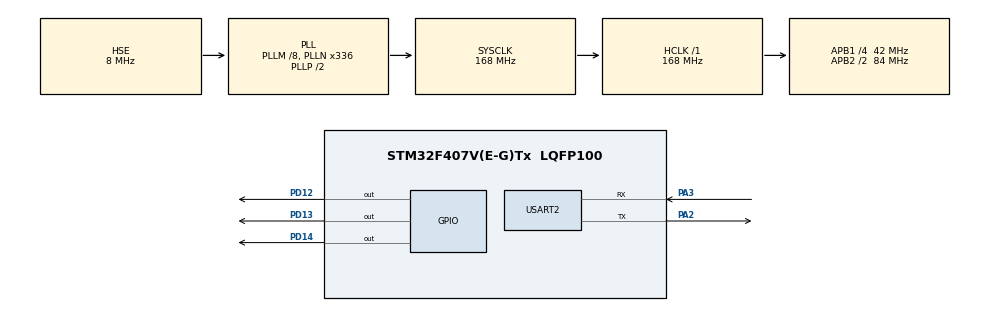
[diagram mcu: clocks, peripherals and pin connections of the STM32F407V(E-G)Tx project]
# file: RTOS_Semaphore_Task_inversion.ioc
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FREERTOS.BinarySemaphores01=BinarySem,Dynamic,NULL,Available
FREERTOS.Tasks01=Task1,1,128,StartDefaultTask,Default,NULL,Dynamic,NULL,NULL;Task02,0,128,StartTask02,Default,NULL,Dynamic,NULL,NULL;Task03,-1,128,StartTask03,Default,NULL,Dynamic,NULL,NULL
Mcu.Family=STM32F4
Mcu.Name=STM32F407V(E-G)Tx
Mcu.Package=LQFP100
NVIC.PriorityGroup=NVIC_PRIORITYGROUP_4
NVIC.TIM2_IRQn=true\:15\:0\:false\:false\:true\:false\:false\:true\:true
NVIC.TimeBase=TIM2_IRQn
NVIC.TimeBaseIP=TIM2
NVIC.USART2_IRQn=true\:5\:0\:false\:false\:true\:true\:true\:true\:true
PA2.Mode=Asynchronous
PA2.Signal=USART2_TX
PA3.Mode=Asynchronous
PA3.Signal=USART2_RX
PD12.Signal=GPIO_Output
PD13.Signal=GPIO_Output
PD14.Signal=GPIO_Output
PH0-OSC_IN.Mode=HSE-External-Oscillator
PH0-OSC_IN.Signal=RCC_OSC_IN
PH1-OSC_OUT.Mode=HSE-External-Oscillator
PH1-OSC_OUT.Signal=RCC_OSC_OUT
ProjectManager.HeapSize=0x200
ProjectManager.StackSize=0x400
ProjectManager.TargetToolchain=STM32CubeIDE
RCC.48MHZClocksFreq_Value=48000000
RCC.AHBFreq_Value=168000000
RCC.APB1CLKDivider=RCC_HCLK_DIV4
RCC.APB1Freq_Value=42000000
RCC.APB1TimFreq_Value=84000000
RCC.APB2CLKDivider=RCC_HCLK_DIV2
RCC.APB2Freq_Value=84000000
RCC.APB2TimFreq_Value=168000000
RCC.CortexFreq_Value=168000000
RCC.HCLKFreq_Value=168000000
RCC.HSE_VALUE=8000000
RCC.HSI_VALUE=16000000
RCC.PLLM=8
RCC.PLLN=336
RCC.PLLQ=7
RCC.PLLSourceVirtual=RCC_PLLSOURCE_HSE
RCC.SYSCLKFreq_VALUE=168000000
RCC.SYSCLKSource=RCC_SYSCLKSOURCE_PLLCLK
RCC.VCOOutputFreq_Value=336000000
USART2.VirtualMode=VM_ASYNC
VP_FREERTOS_VS_CMSIS_V1.Mode=CMSIS_V1
VP_SYS_VS_tim2.Mode=TIM2
board=STM32F407G-DISC1

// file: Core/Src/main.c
/* USER CODE BEGIN Header */
/**
  ******************************************************************************
  * @file           : main.c
  * @brief          : Main program body
  ******************************************************************************
  * @attention
  *
  * Copyright (c) 2026 STMicroelectronics.
  * All rights reserved.
  *
  * This software is licensed under terms that can be found in the LICENSE file
  * in the root directory of this software component.
  * If no LICENSE file comes with this software, it is provided AS-IS.
  *
  ******************************************************************************
  */
/* USER CODE END Header */
#include "main.h"
#include "cmsis_os.h"

/* USER CODE BEGIN Includes */
#include "string.h"
#include "stdio.h"
/* USER CODE END Includes */

UART_HandleTypeDef huart2;

osThreadId Task1Handle;
osThreadId Task02Handle;
osThreadId Task03Handle;
osSemaphoreId BinarySemHandle;

void SystemClock_Config(void);
static void MX_GPIO_Init(void);
static void MX_USART2_UART_Init(void);
void StartDefaultTask(void const * argument);
void StartTask02(void const * argument);
void StartTask03(void const * argument);

/* USER CODE BEGIN PFP */
void send_uart(char *str)
{
	osSemaphoreWait(BinarySemHandle, osWaitForever);
	osDelay(5000);
	HAL_UART_Transmit(&huart2, (uint8_t*)str,strlen(str), HAL_MAX_DELAY);
	osSemaphoreRelease(BinarySemHandle);
}
/* USER CODE END PFP */

/* USER CODE BEGIN 0 */
int _write(int file, char *ptr, int len){
	HAL_UART_Transmit(&huart2, (uint8_t*)ptr, len, HAL_MAX_DELAY);
	return len;
}

/* USER CODE END 0 */

int main(void)
{

  /* MCU Configuration--------------------------------------------------------*/

  /* Reset of all peripherals, Initializes the Flash interface and the Systick. */
  HAL_Init();

  /* Configure the system clock */
  SystemClock_Config();

  /* Initialize all configured peripherals */
  MX_GPIO_Init();
  MX_USART2_UART_Init();

  /* Create the semaphores(s) */
  /* definition and creation of BinarySem */
  osSemaphoreDef(BinarySem);
  BinarySemHandle = osSemaphoreCreate(osSemaphore(BinarySem), 1);

  /* USER CODE BEGIN RTOS_SEMAPHORES */
  /* add semaphores, ... */
  osSemaphoreRelease(BinarySemHandle);
  /* USER CODE END RTOS_SEMAPHORES */

  /* Create the thread(s) */
  /* definition and creation of Task1 */
  osThreadDef(Task1, StartDefaultTask, osPriorityAboveNormal, 0, 128);
  Task1Handle = osThreadCreate(osThread(Task1), NULL);

  /* definition and creation of Task02 */
  osThreadDef(Task02, StartTask02, osPriorityNormal, 0, 128);
  Task02Handle = osThreadCreate(osThread(Task02), NULL);

  /* definition and creation of Task03 */
  osThreadDef(Task03, StartTask03, osPriorityBelowNormal, 0, 128);
  Task03Handle = osThreadCreate(osThread(Task03), NULL);

  /* Start scheduler */
  osKernelStart();

  /* We should never get here as control is now taken by the scheduler */

  /* Infinite loop */
  while (1)
  {

  }
}

void SystemClock_Config(void)
{
  RCC_OscInitTypeDef RCC_OscInitStruct = {0};
  RCC_ClkInitTypeDef RCC_ClkInitStruct = {0};

  /** Configure the main internal regulator output voltage
  */
  __HAL_RCC_PWR_CLK_ENABLE();
  __HAL_PWR_VOLTAGESCALING_CONFIG(PWR_REGULATOR_VOLTAGE_SCALE1);

  /** Initializes the RCC Oscillators according to the specified parameters
  * in the RCC_OscInitTypeDef structure.
  */
  RCC_OscInitStruct.OscillatorType = RCC_OSCILLATORTYPE_HSE;
  RCC_OscInitStruct.HSEState = RCC_HSE_ON;
  RCC_OscInitStruct.PLL.PLLState = RCC_PLL_ON;
  RCC_OscInitStruct.PLL.PLLSource = RCC_PLLSOURCE_HSE;
  RCC_OscInitStruct.PLL.PLLM = 8;
  RCC_OscInitStruct.PLL.PLLN = 336;
  RCC_OscInitStruct.PLL.PLLP = RCC_PLLP_DIV2;
  RCC_OscInitStruct.PLL.PLLQ = 7;
  if (HAL_RCC_OscConfig(&RCC_OscInitStruct) != HAL_OK)
  {
    Error_Handler();
  }

  /** Initializes the CPU, AHB and APB buses clocks
  */
  RCC_ClkInitStruct.ClockType = RCC_CLOCKTYPE_HCLK|RCC_CLOCKTYPE_SYSCLK
                              |RCC_CLOCKTYPE_PCLK1|RCC_CLOCKTYPE_PCLK2;
  RCC_ClkInitStruct.SYSCLKSource = RCC_SYSCLKSOURCE_PLLCLK;
  RCC_ClkInitStruct.AHBCLKDivider = RCC_SYSCLK_DIV1;
  RCC_ClkInitStruct.APB1CLKDivider = RCC_HCLK_DIV4;
  RCC_ClkInitStruct.APB2CLKDivider = RCC_HCLK_DIV2;

  if (HAL_RCC_ClockConfig(&RCC_ClkInitStruct, FLASH_LATENCY_5) != HAL_OK)
  {
    Error_Handler();
  }
}

static void MX_USART2_UART_Init(void)
{

  huart2.Instance = USART2;
  huart2.Init.BaudRate = 115200;
  huart2.Init.WordLength = UART_WORDLENGTH_8B;
  huart2.Init.StopBits = UART_STOPBITS_1;
  huart2.Init.Parity = UART_PARITY_NONE;
  huart2.Init.Mode = UART_MODE_TX_RX;
  huart2.Init.HwFlowCtl = UART_HWCONTROL_NONE;
  huart2.Init.OverSampling = UART_OVERSAMPLING_16;
  if (HAL_UART_Init(&huart2) != HAL_OK)
  {
    Error_Handler();
  }

}

static void MX_GPIO_Init(void)
{
  GPIO_InitTypeDef GPIO_InitStruct = {0};

  /* GPIO Ports Clock Enable */
  __HAL_RCC_GPIOH_CLK_ENABLE();
  __HAL_RCC_GPIOA_CLK_ENABLE();
  __HAL_RCC_GPIOD_CLK_ENABLE();

  /*Configure GPIO pin Output Level */
  HAL_GPIO_WritePin(GPIOD, GPIO_PIN_12|GPIO_PIN_13|GPIO_PIN_14, GPIO_PIN_RESET);

  /*Configure GPIO pins : PD12 PD13 PD14 */
  GPIO_InitStruct.Pin = GPIO_PIN_12|GPIO_PIN_13|GPIO_PIN_14;
  GPIO_InitStruct.Mode = GPIO_MODE_OUTPUT_PP;
  GPIO_InitStruct.Pull = GPIO_NOPULL;
  GPIO_InitStruct.Speed = GPIO_SPEED_FREQ_LOW;
  HAL_GPIO_Init(GPIOD, &GPIO_InitStruct);

}

void StartDefaultTask(void const * argument)
{
  /* USER CODE BEGIN 5 */
	char *strtosend = "IN HPT -----------------------------";
  /* Infinite loop */
  for(;;)
  {
	  char *str="Entered HPT and About to take binary semaphore\r\n";
	  HAL_UART_Transmit(&huart2, (uint8_t*)str, strlen(str), HAL_MAX_DELAY);

	  send_uart(strtosend);

	  char *str2="Leaving the HPT \r\n";
	  	  HAL_UART_Transmit(&huart2, (uint8_t*)str2, strlen(str2), HAL_MAX_DELAY);

	  osDelay(1000);

  }
  /* USER CODE END 5 */
}

void StartTask02(void const * argument)
{
  /* USER CODE BEGIN StartTask02 */
  /* Infinite loop */
  for(;;)
  {
	 char *str = "Entered the MPT \r\n";
	 HAL_UART_Transmit(&huart2, (uint8_t*)str, strlen(str), HAL_MAX_DELAY);
	 osDelay(1000);
	 char *str1= "Leaving the MPT \r\n";
	 HAL_UART_Transmit(&huart2, (uint8_t*)str1, strlen(str1), HAL_MAX_DELAY);
  }
  /* USER CODE END StartTask02 */
}

void StartTask03(void const * argument)
{
  /* USER CODE BEGIN StartTask03 */
  /* Infinite loop */
  for(;;)
  {
	  char *str3="Entered HPT and About to take binary semaphore\r\n";
	 	  HAL_UART_Transmit(&huart2, (uint8_t*)str3, strlen(str3), HAL_MAX_DELAY);

	 	  char *str4="Leaving the HPT \r\n";
	 	  	  HAL_UART_Transmit(&huart2, (uint8_t*)str4, strlen(str4), HAL_MAX_DELAY);

	 	  osDelay(1000);
  }
  /* USER CODE END StartTask03 */
}

void HAL_TIM_PeriodElapsedCallback(TIM_HandleTypeDef *htim)
{
  if (htim->Instance == TIM2)
  {
    HAL_IncTick();
  }
}

void Error_Handler(void)
{
  __disable_irq();
  while (1)
  {
  }
}
